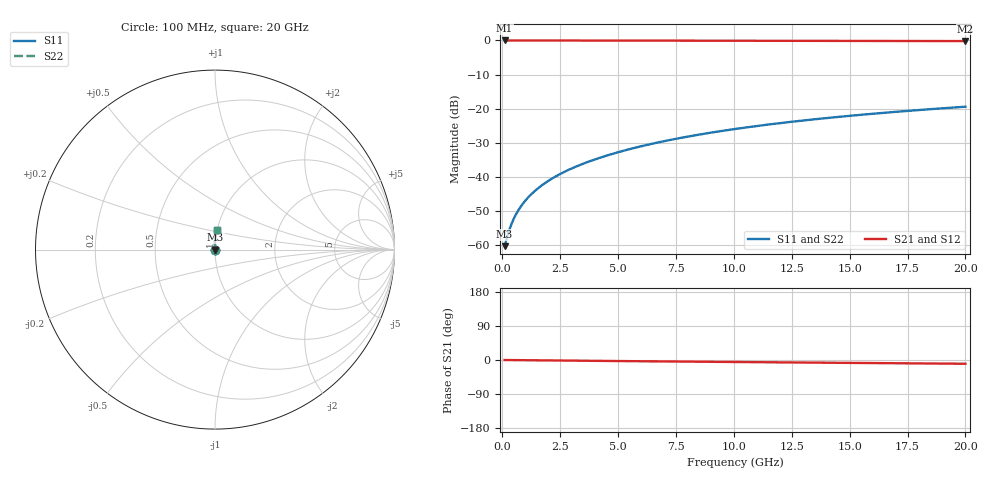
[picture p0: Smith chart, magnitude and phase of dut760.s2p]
! Touchstone file exported from HFSS 2024.1.0
!  File:  C:/UserFiles/LocalFiles/RDL_TSV_Batchsim/temp_RDL_top_760_1779852178.aedt
!  Generated:  11:25:29 AM May 27, 2026
!  Design:  RDL_top
!  Project:  temp_RDL_top_760_1779852178
!  Setup:  Setup1
!  Solution:  Sweep
! Variables:
!  dtsv = 10.80580581um
!  hbump = 3um
!  htsv = 90.14um
!  ldown = 100um
!  lrdl = 113.09um
!  p = 40
!  p1 = 49.6um
!  rhole = 1um
!  t = 450um
!  tdown = 3.915915916um
!  trdl = 2.84um
!  wdown = 15.38538539um
!  wrdl = 27.24um
# GHz S MA R 50.000000
! Terminal data exported
! Port[1] = Box2_T1
! Port[2] = Box2_T2
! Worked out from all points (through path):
!   200 points, 100 MHz to 20 GHz, reference 50 ohm
!   highest |S21| = -0.01 dB at 100 MHz (marker M1); lowest = -0.2 dB at 20 GHz (marker M2)
!   group delay of S21, straight-line fit = 1.36 ps
!   lowest |S11| = -60.2 dB at 100 MHz (marker M3), VSWR 1.00, Z = 50.1 + j0.0493 ohm
!   |S11| at or under -10 dB: start of sweep to end of sweep
!   |S22| runs from -60.2 to -19.4 dB; largest |S21 - S12| = 3.1e-15
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0.1  0.0009745 30.3  0.9992 -0.1  0.9992 -0.1  0.0009745 30.3
! Gamma 0 0 0 0
! Port Impedance 50 0 50 0
0.2  0.001302 47.8  0.9991 -0.1  0.9991 -0.1  0.001302 47.8
0.3  0.001682 57.3  0.9991 -0.2  0.9991 -0.2  0.001682 57.3
0.4  0.002076 63.3  0.999 -0.2  0.999 -0.2  0.002076 63.3
0.5  0.002476 67.4  0.999 -0.3  0.999 -0.3  0.002476 67.4
0.6  0.002881 70.6  0.9989 -0.4  0.9989 -0.4  0.002881 70.6
0.8  0.003702 75.0  0.9988 -0.5  0.9988 -0.5  0.003702 75.0
1  0.004537 78.0  0.9988 -0.6  0.9988 -0.6  0.004537 78.0
1.2  0.005383 80.2  0.9987 -0.7  0.9987 -0.7  0.005383 80.2
1.4  0.006239 81.9  0.9986 -0.8  0.9986 -0.8  0.006239 81.9
1.7  0.007537 83.9  0.9984 -1.0  0.9984 -1.0  0.007537 83.9
2.2  0.009743 86.2  0.9981 -1.3  0.9981 -1.3  0.009743 86.2
2.8  0.01246 88.1  0.9976 -1.6  0.9976 -1.6  0.01246 88.1
3.5  0.01573 89.7  0.9969 -2.0  0.9969 -2.0  0.01573 89.7
4.2  0.01911 90.7  0.9961 -2.4  0.9961 -2.4  0.01911 90.7
5  0.0231 91.5  0.9952 -2.8  0.9952 -2.8  0.0231 91.5
6.8  0.03252 92.2  0.9928 -3.7  0.9928 -3.7  0.03252 92.2
8.4  0.04128 92.1  0.9907 -4.5  0.9907 -4.5  0.04128 92.1
10.1  0.05083 91.4  0.9886 -5.3  0.9886 -5.3  0.05083 91.4
13.4  0.06965 89.6  0.9848 -6.9  0.9848 -6.9  0.06965 89.6
16.7  0.08848 87.5  0.9813 -8.4  0.9813 -8.4  0.08848 87.5
20  0.1071 85.4  0.9779 -9.9  0.9779 -9.9  0.1071 85.4
